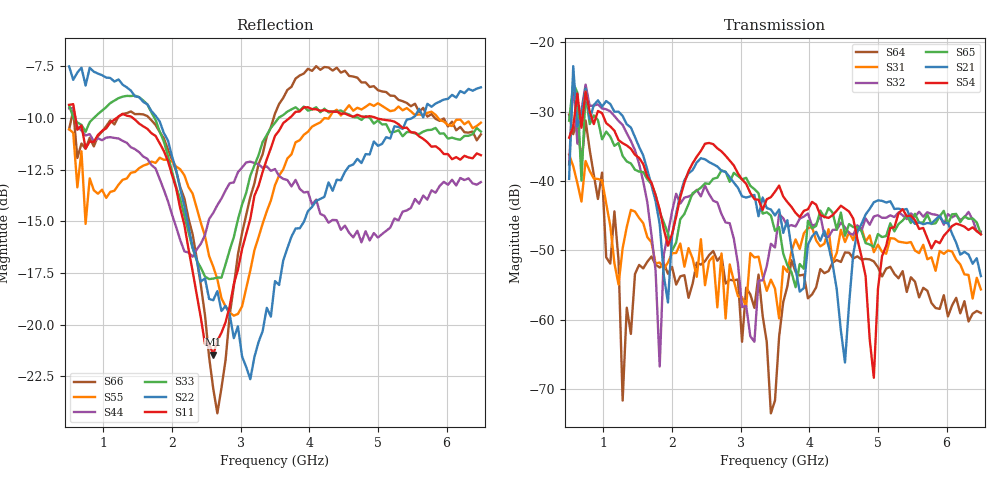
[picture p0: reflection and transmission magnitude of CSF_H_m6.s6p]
!Keysight Technologies,M9804A,MY58100912,A.14.10.03
!Date: Thursday, April 27, 2023 10:28:33
!Correction: S11(C  6-Port  )
!S12(C  6-Port  )
!S13(C  6-Port  )
!S14(C  6-Port  )
!S15(C  6-Port  )
!S16(C  6-Port  )
!S21(C  6-Port  )
!S22(C  6-Port  )
!S23(C  6-Port  )
!S24(C  6-Port  )
!S25(C  6-Port  )
!S26(C  6-Port  )
!S31(C  6-Port  )
!S32(C  6-Port  )
!S33(C  6-Port  )
!S34(C  6-Port  )
!S35(C  6-Port  )
!S36(C  6-Port  )
!S41(C  6-Port  )
!S42(C  6-Port  )
!S43(C  6-Port  )
!S44(C  6-Port  )
!S45(C  6-Port  )
!S46(C  6-Port  )
!S51(C  6-Port  )
!S52(C  6-Port  )
!S53(C  6-Port  )
!S54(C  6-Port  )
!S55(C  6-Port  )
!S56(C  6-Port  )
!S61(C  6-Port  )
!S62(C  6-Port  )
!S63(C  6-Port  )
!S64(C  6-Port  )
!S65(C  6-Port  )
!S66(C  6-Port  )
!S6P File: Measurement: :
# Hz S  RI  R 50
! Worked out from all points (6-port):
!   101 points, 500 MHz to 6.5 GHz, reference 50 ohm
!   strongest paths, dB at 500 MHz, 2 GHz, 3.5 GHz, 5 GHz, 6.5 GHz:
!     S54: -33.8, -47.6, -41.5, -55.6, -47.7
!     S21: -39.7, -47.9, -45.0, -42.8, -53.7
!     S65: -31.3, -50.0, -47.2, -47.6, -47.6
!     S32: -37.7, -44.4, -49.6, -44.9, -47.3
!     S31: -36.2, -50.4, -55.5, -49.2, -55.6
!     S64: -30.5, -52.4, -71.6, -52.4, -59.0
!   lowest |S11| = -21.5 dB at 2.6 GHz (marker M1), VSWR 1.18, Z = 42.5 + j2.16 ohm
!   |S11| at or under -10 dB: 592.4 MHz to 1.192 GHz (600 MHz wide, 67.2 % of centre); 1.429 GHz to 3.711 GHz (2.283 GHz wide, 88.8 % of centre); 4.975 GHz to end of sweep
